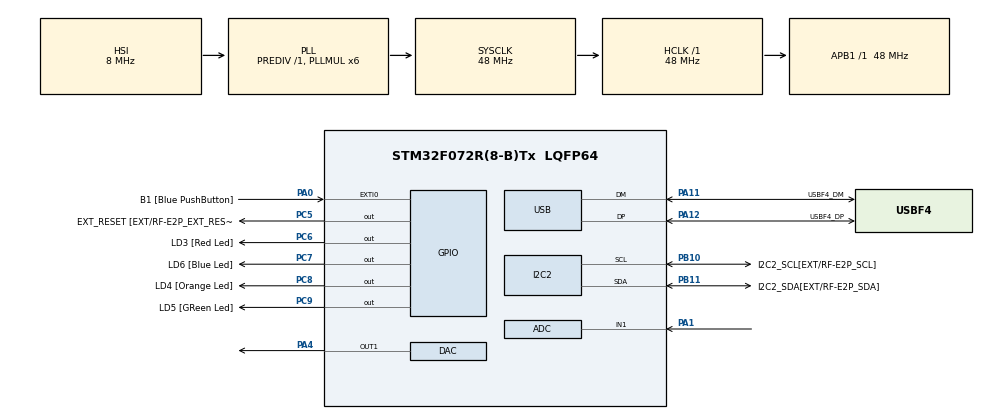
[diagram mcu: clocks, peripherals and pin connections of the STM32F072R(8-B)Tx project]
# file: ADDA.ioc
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ADC.ClockPrescaler=ADC_CLOCK_SYNC_PCLK_DIV4
ADC.ContinuousConvMode=DISABLE
ADC.DMAContinuousRequests=ENABLE
ADC.ExternalTrigConv=ADC_SOFTWARE_START
ADC.Overrun=ADC_OVR_DATA_PRESERVED
Dma.ADC.0.Direction=DMA_PERIPH_TO_MEMORY
Dma.ADC.0.Instance=DMA1_Channel1
Dma.ADC.0.MemDataAlignment=DMA_MDATAALIGN_WORD
Dma.ADC.0.MemInc=DMA_MINC_ENABLE
Dma.ADC.0.Mode=DMA_CIRCULAR
Dma.ADC.0.PeriphDataAlignment=DMA_PDATAALIGN_WORD
Dma.ADC.0.PeriphInc=DMA_PINC_DISABLE
Dma.ADC.0.Priority=DMA_PRIORITY_LOW
Dma.Request0=ADC
I2C2.Timing=0x20303E5D
Mcu.Family=STM32F0
Mcu.Name=STM32F072R(8-B)Tx
Mcu.Package=LQFP64
NVIC.DMA1_Channel1_IRQn=true\:0\:0\:false\:false\:true
NVIC.USB_IRQn=true\:0\:0\:false\:false\:true
PA0.GPIO_Label=B1 [Blue PushButton]
PA0.GPIO_ModeDefaultEXTI=GPIO_MODE_EVT_RISING
PA0.Signal=GPXTI0
PA1.Mode=IN1
PA1.Signal=ADC_IN1
PA11.GPIO_Label=USBF4_DM
PA11.Mode=Device
PA11.Signal=USB_DM
PA12.GPIO_Label=USBF4_DP
PA12.Mode=Device
PA12.Signal=USB_DP
PA13.GPIO_Label=SWDIO
PA13.Mode=Serial_Wire
PA13.Signal=SYS_SWDIO
PA14.GPIO_Label=SWCLK
PA14.Mode=Serial_Wire
PA14.Signal=SYS_SWCLK
PA4.Signal=COMP_DAC1_group
PB10.GPIO_Label=I2C2_SCL[EXT/RF-E2P_SCL]
PB10.Mode=I2C
PB10.Signal=I2C2_SCL
PB11.GPIO_Label=I2C2_SDA[EXT/RF-E2P_SDA]
PB11.Mode=I2C
PB11.Signal=I2C2_SDA
PC5.GPIO_Label=EXT_RESET [EXT/RF-E2P_EXT_RESET]
PC5.Signal=GPIO_Output
PC6.GPIO_Label=LD3 [Red Led]
PC6.Signal=GPIO_Output
PC7.GPIO_Label=LD6 [Blue Led]
PC7.Signal=GPIO_Output
PC8.GPIO_Label=LD4 [Orange Led]
PC8.Signal=GPIO_Output
PC9.GPIO_Label=LD5 [GReen Led]
PC9.Signal=GPIO_Output
ProjectManager.HeapSize=0x200
ProjectManager.StackSize=0x400
ProjectManager.TargetToolchain=MDK-ARM V5
RCC.AHBFreq_Value=48000000
RCC.APB1Freq_Value=48000000
RCC.APB1TimFreq_Value=48000000
RCC.HCLKFreq_Value=48000000
RCC.PLLMUL=RCC_PLL_MUL6
RCC.SYSCLKFreq_VALUE=48000000
RCC.SYSCLKSource=RCC_SYSCLKSOURCE_PLLCLK
SH.COMP_DAC1_group.0=DAC_OUT1,DAC_OUT1
USB.phy_itface=PCD_PHY_EMBEDDED
USB.speed=PCD_SPEED_FULL
USB_DEVICE.CLASS_NAME_FS=CDC
USB_DEVICE.VirtualMode=Cdc
USB_DEVICE.VirtualModeFS=Cdc_FS
VP_USB_DEVICE_VS_USB_DEVICE_CDC_FS.Mode=CDC_FS
board=STM32F072B-DISCO

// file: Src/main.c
/**
  ******************************************************************************
  * File Name          : main.c
  * Description        : Main program body
  ******************************************************************************
  * This notice applies to any and all portions of this file
  * that are not between comment pairs USER CODE BEGIN and
  * USER CODE END. Other portions of this file, whether
  * inserted by the user or by software development tools
  * are owned by their respective copyright owners.
  *
  * Copyright (c) 2017 STMicroelectronics International N.V.
  * All rights reserved.
  *
  * Redistribution and use in source and binary forms, with or without
  * modification, are permitted, provided that the following conditions are met:
  *
  * 1. Redistribution of source code must retain the above copyright notice,
  *    this list of conditions and the following disclaimer.
  * 2. Redistributions in binary form must reproduce the above copyright notice,
  *    this list of conditions and the following disclaimer in the documentation
  *    and/or other materials provided with the distribution.
  * 3. Neither the name of STMicroelectronics nor the names of other
  *    contributors to this software may be used to endorse or promote products
  *    derived from this software without specific written permission.
  * 4. This software, including modifications and/or derivative works of this
  *    software, must execute solely and exclusively on microcontroller or
  *    microprocessor devices manufactured by or for STMicroelectronics.
  * 5. Redistribution and use of this software other than as permitted under
  *    this license is void and will automatically terminate your rights under
  *    this license.
  *
  * THIS SOFTWARE IS PROVIDED BY STMICROELECTRONICS AND CONTRIBUTORS "AS IS"
  * AND ANY EXPRESS, IMPLIED OR STATUTORY WARRANTIES, INCLUDING, BUT NOT
  * LIMITED TO, THE IMPLIED WARRANTIES OF MERCHANTABILITY, FITNESS FOR A
  * PARTICULAR PURPOSE AND NON-INFRINGEMENT OF THIRD PARTY INTELLECTUAL PROPERTY
  * RIGHTS ARE DISCLAIMED TO THE FULLEST EXTENT PERMITTED BY LAW. IN NO EVENT
  * SHALL STMICROELECTRONICS OR CONTRIBUTORS BE LIABLE FOR ANY DIRECT, INDIRECT,
  * INCIDENTAL, SPECIAL, EXEMPLARY, OR CONSEQUENTIAL DAMAGES (INCLUDING, BUT NOT
  * LIMITED TO, PROCUREMENT OF SUBSTITUTE GOODS OR SERVICES; LOSS OF USE, DATA,
  * OR PROFITS; OR BUSINESS INTERRUPTION) HOWEVER CAUSED AND ON ANY THEORY OF
  * LIABILITY, WHETHER IN CONTRACT, STRICT LIABILITY, OR TORT (INCLUDING
  * NEGLIGENCE OR OTHERWISE) ARISING IN ANY WAY OUT OF THE USE OF THIS SOFTWARE,
  * EVEN IF ADVISED OF THE POSSIBILITY OF SUCH DAMAGE.
  *
  ******************************************************************************
  */
#include "main.h"
#include "stm32f0xx_hal.h"
#include "usb_device.h"

/* USER CODE BEGIN Includes */
#include "usbd_cdc_if.h"
/* USER CODE END Includes */

ADC_HandleTypeDef hadc;
DMA_HandleTypeDef hdma_adc;

DAC_HandleTypeDef hdac;

I2C_HandleTypeDef hi2c2;

/* USER CODE BEGIN PV */
/* Private variables ---------------------------------------------------------*/
uint8_t HiMsg[] = "hello\r\n";
uint8_t buffer_to_send[64];
uint8_t receive_data[64];
uint32_t ADCReadings[10]; //ADC Readings
/* USER CODE END PV */

void SystemClock_Config(void);
static void MX_GPIO_Init(void);
static void MX_DMA_Init(void);
static void MX_ADC_Init(void);
static void MX_DAC_Init(void);
static void MX_I2C2_Init(void);

/* USER CODE BEGIN PFP */
/* Private function prototypes -----------------------------------------------*/
uint16_t Get_Adc(uint16_t ch);
/* USER CODE END PFP */

int main(void)
{

  /* USER CODE BEGIN 1 */
	float ADC_value = 0.0;
	uint16_t adc_temp = 0;
	float DAC_value = 0.0;
  /* USER CODE END 1 */

  /* MCU Configuration----------------------------------------------------------*/

  /* Reset of all peripherals, Initializes the Flash interface and the Systick. */
  HAL_Init();

  /* Configure the system clock */
  SystemClock_Config();

  /* Initialize all configured peripherals */
  MX_GPIO_Init();
  MX_DMA_Init();
  MX_ADC_Init();
  MX_DAC_Init();
  MX_I2C2_Init();
  MX_USB_DEVICE_Init();

  /* USER CODE BEGIN 2 */
	HAL_DAC_Start(&hdac,DAC_CHANNEL_1);
//	HAL_ADC_Start(&hadc);
//	HAL_ADC_PollForConversion(&hadc,10);

  HAL_ADC_Start(&hadc);
	HAL_ADC_Start_DMA(&hadc, (uint32_t*) ADCReadings, 10);
  /* USER CODE END 2 */

  /* Infinite loop */
  while (1)
  {

  /* USER CODE BEGIN 3 */
		#define ADC_TO_VALTAGE (3.3f/4096)
		#define VALTAGE_TO_DAC (4096/3.3f)

		// DAC
		if (DAC_value > 3.3){
			DAC_value = 0;
		}
		HAL_DAC_SetValue(&hdac,DAC_CHANNEL_1,DAC_ALIGN_12B_R, (uint32_t)DAC_value*VALTAGE_TO_DAC);
		HAL_Delay(5);

		// ADC
		// adc_temp = Get_Adc(1);
		adc_temp = ADCReadings[0];

		ADC_value = (float)adc_temp * ADC_TO_VALTAGE;

		// CDC_Transmit_FS(HiMsg,strlen((const char*)HiMsg));
		sprintf((char*)buffer_to_send,"ADC: %.2f , DAC: %.2f \r\n",ADC_value , DAC_value);
		CDC_Transmit_FS(buffer_to_send,strlen((const char*)buffer_to_send));

		DAC_value += 0.5;
		HAL_GPIO_TogglePin(GPIOC, LD3_Pin);
		HAL_Delay(1000);
  }
  /* USER CODE END 3 */

}

/** System Clock Configuration
*/
void SystemClock_Config(void)
{

  RCC_OscInitTypeDef RCC_OscInitStruct;
  RCC_ClkInitTypeDef RCC_ClkInitStruct;
  RCC_PeriphCLKInitTypeDef PeriphClkInit;

    /**Initializes the CPU, AHB and APB busses clocks
    */
  RCC_OscInitStruct.OscillatorType = RCC_OSCILLATORTYPE_HSI|RCC_OSCILLATORTYPE_HSI48;
  RCC_OscInitStruct.HSIState = RCC_HSI_ON;
  RCC_OscInitStruct.HSI48State = RCC_HSI48_ON;
  RCC_OscInitStruct.HSICalibrationValue = 16;
  RCC_OscInitStruct.PLL.PLLState = RCC_PLL_ON;
  RCC_OscInitStruct.PLL.PLLSource = RCC_PLLSOURCE_HSI;
  RCC_OscInitStruct.PLL.PLLMUL = RCC_PLL_MUL6;
  RCC_OscInitStruct.PLL.PREDIV = RCC_PREDIV_DIV1;
  if (HAL_RCC_OscConfig(&RCC_OscInitStruct) != HAL_OK)
  {
    _Error_Handler(__FILE__, __LINE__);
  }

    /**Initializes the CPU, AHB and APB busses clocks
    */
  RCC_ClkInitStruct.ClockType = RCC_CLOCKTYPE_HCLK|RCC_CLOCKTYPE_SYSCLK
                              |RCC_CLOCKTYPE_PCLK1;
  RCC_ClkInitStruct.SYSCLKSource = RCC_SYSCLKSOURCE_PLLCLK;
  RCC_ClkInitStruct.AHBCLKDivider = RCC_SYSCLK_DIV1;
  RCC_ClkInitStruct.APB1CLKDivider = RCC_HCLK_DIV1;

  if (HAL_RCC_ClockConfig(&RCC_ClkInitStruct, FLASH_LATENCY_1) != HAL_OK)
  {
    _Error_Handler(__FILE__, __LINE__);
  }

  PeriphClkInit.PeriphClockSelection = RCC_PERIPHCLK_USB;
  PeriphClkInit.UsbClockSelection = RCC_USBCLKSOURCE_HSI48;

  if (HAL_RCCEx_PeriphCLKConfig(&PeriphClkInit) != HAL_OK)
  {
    _Error_Handler(__FILE__, __LINE__);
  }

    /**Configure the Systick interrupt time
    */
  HAL_SYSTICK_Config(HAL_RCC_GetHCLKFreq()/1000);

    /**Configure the Systick
    */
  HAL_SYSTICK_CLKSourceConfig(SYSTICK_CLKSOURCE_HCLK);

  /* SysTick_IRQn interrupt configuration */
  HAL_NVIC_SetPriority(SysTick_IRQn, 0, 0);
}

/* ADC init function */
static void MX_ADC_Init(void)
{

  ADC_ChannelConfTypeDef sConfig;

    /**Configure the global features of the ADC (Clock, Resolution, Data Alignment and number of conversion)
    */
  hadc.Instance = ADC1;
  hadc.Init.ClockPrescaler = ADC_CLOCK_SYNC_PCLK_DIV4;
  hadc.Init.Resolution = ADC_RESOLUTION_12B;
  hadc.Init.DataAlign = ADC_DATAALIGN_RIGHT;
  hadc.Init.ScanConvMode = ADC_SCAN_DIRECTION_FORWARD;
  hadc.Init.EOCSelection = ADC_EOC_SINGLE_CONV;
  hadc.Init.LowPowerAutoWait = DISABLE;
  hadc.Init.LowPowerAutoPowerOff = DISABLE;
  hadc.Init.ContinuousConvMode = DISABLE;
  hadc.Init.DiscontinuousConvMode = DISABLE;
  hadc.Init.ExternalTrigConv = ADC_SOFTWARE_START;
  hadc.Init.ExternalTrigConvEdge = ADC_EXTERNALTRIGCONVEDGE_NONE;
  hadc.Init.DMAContinuousRequests = ENABLE;
  hadc.Init.Overrun = ADC_OVR_DATA_PRESERVED;
  if (HAL_ADC_Init(&hadc) != HAL_OK)
  {
    _Error_Handler(__FILE__, __LINE__);
  }

    /**Configure for the selected ADC regular channel to be converted.
    */
  sConfig.Channel = ADC_CHANNEL_1;
  sConfig.Rank = ADC_RANK_CHANNEL_NUMBER;
  sConfig.SamplingTime = ADC_SAMPLETIME_1CYCLE_5;
  if (HAL_ADC_ConfigChannel(&hadc, &sConfig) != HAL_OK)
  {
    _Error_Handler(__FILE__, __LINE__);
  }

}

/* DAC init function */
static void MX_DAC_Init(void)
{

  DAC_ChannelConfTypeDef sConfig;

    /**DAC Initialization
    */
  hdac.Instance = DAC;
  if (HAL_DAC_Init(&hdac) != HAL_OK)
  {
    _Error_Handler(__FILE__, __LINE__);
  }

    /**DAC channel OUT1 config
    */
  sConfig.DAC_Trigger = DAC_TRIGGER_NONE;
  sConfig.DAC_OutputBuffer = DAC_OUTPUTBUFFER_ENABLE;
  if (HAL_DAC_ConfigChannel(&hdac, &sConfig, DAC_CHANNEL_1) != HAL_OK)
  {
    _Error_Handler(__FILE__, __LINE__);
  }

}

/* I2C2 init function */
static void MX_I2C2_Init(void)
{

  hi2c2.Instance = I2C2;
  hi2c2.Init.Timing = 0x20303E5D;
  hi2c2.Init.OwnAddress1 = 0;
  hi2c2.Init.AddressingMode = I2C_ADDRESSINGMODE_7BIT;
  hi2c2.Init.DualAddressMode = I2C_DUALADDRESS_DISABLE;
  hi2c2.Init.OwnAddress2 = 0;
  hi2c2.Init.OwnAddress2Masks = I2C_OA2_NOMASK;
  hi2c2.Init.GeneralCallMode = I2C_GENERALCALL_DISABLE;
  hi2c2.Init.NoStretchMode = I2C_NOSTRETCH_DISABLE;
  if (HAL_I2C_Init(&hi2c2) != HAL_OK)
  {
    _Error_Handler(__FILE__, __LINE__);
  }

    /**Configure Analogue filter
    */
  if (HAL_I2CEx_ConfigAnalogFilter(&hi2c2, I2C_ANALOGFILTER_ENABLE) != HAL_OK)
  {
    _Error_Handler(__FILE__, __LINE__);
  }

    /**Configure Digital filter
    */
  if (HAL_I2CEx_ConfigDigitalFilter(&hi2c2, 0) != HAL_OK)
  {
    _Error_Handler(__FILE__, __LINE__);
  }

}

static void MX_DMA_Init(void)
{
  /* DMA controller clock enable */
  __HAL_RCC_DMA1_CLK_ENABLE();

  /* DMA interrupt init */
  /* DMA1_Channel1_IRQn interrupt configuration */
  HAL_NVIC_SetPriority(DMA1_Channel1_IRQn, 0, 0);
  HAL_NVIC_EnableIRQ(DMA1_Channel1_IRQn);

}

/** Configure pins as
        * Analog
        * Input
        * Output
        * EVENT_OUT
        * EXTI
*/
static void MX_GPIO_Init(void)
{

  GPIO_InitTypeDef GPIO_InitStruct;

  /* GPIO Ports Clock Enable */
  __HAL_RCC_GPIOA_CLK_ENABLE();
  __HAL_RCC_GPIOC_CLK_ENABLE();
  __HAL_RCC_GPIOB_CLK_ENABLE();

  /*Configure GPIO pin Output Level */
  HAL_GPIO_WritePin(GPIOC, EXT_RESET_Pin|LD3_Pin|LD6_Pin|LD4_Pin
                          |LD5_Pin, GPIO_PIN_RESET);

  /*Configure GPIO pin : B1_Pin */
  GPIO_InitStruct.Pin = B1_Pin;
  GPIO_InitStruct.Mode = GPIO_MODE_EVT_RISING;
  GPIO_InitStruct.Pull = GPIO_NOPULL;
  HAL_GPIO_Init(B1_GPIO_Port, &GPIO_InitStruct);

  /*Configure GPIO pins : EXT_RESET_Pin LD3_Pin LD6_Pin LD4_Pin
                           LD5_Pin */
  GPIO_InitStruct.Pin = EXT_RESET_Pin|LD3_Pin|LD6_Pin|LD4_Pin
                          |LD5_Pin;
  GPIO_InitStruct.Mode = GPIO_MODE_OUTPUT_PP;
  GPIO_InitStruct.Pull = GPIO_NOPULL;
  GPIO_InitStruct.Speed = GPIO_SPEED_FREQ_LOW;
  HAL_GPIO_Init(GPIOC, &GPIO_InitStruct);

}

/* USER CODE BEGIN 4 */
uint16_t Get_Adc(uint16_t ch)
{
    ADC_ChannelConfTypeDef ADC1_ChanConf;

    ADC1_ChanConf.Channel 		 = ch;                                   //通道
    ADC1_ChanConf.Rank 	  		 = ADC_RANK_CHANNEL_NUMBER;                                       //1个序列
    ADC1_ChanConf.SamplingTime = ADC_SAMPLETIME_1CYCLE_5;        //采样时间

		if (HAL_ADC_ConfigChannel(&hadc, &ADC1_ChanConf) != HAL_OK)
		{
			_Error_Handler(__FILE__, __LINE__);
		}
    HAL_ADC_Start(&hadc);                               //开启ADC
    HAL_ADC_PollForConversion(&hadc, 10);                //轮询转换

	return (uint16_t)HAL_ADC_GetValue(&hadc);	            //返回最近一次ADC1规则组的转换结果
}
/* USER CODE END 4 */

void _Error_Handler(char * file, int line)
{
  while(1)
  {
  }
}

/************************ (C) COPYRIGHT STMicroelectronics *****END OF FILE****/
